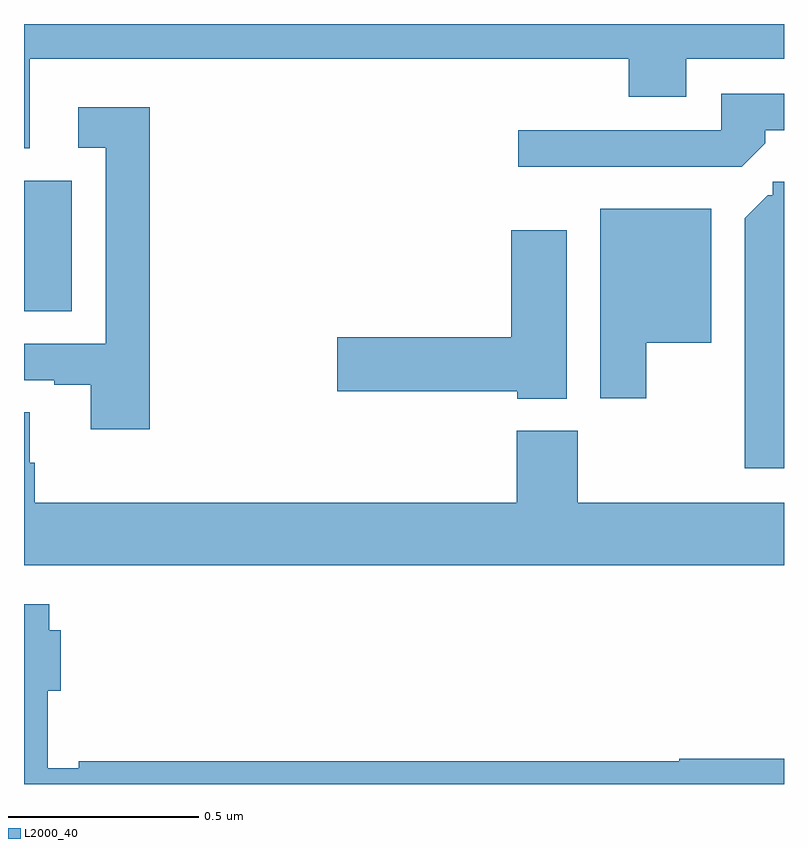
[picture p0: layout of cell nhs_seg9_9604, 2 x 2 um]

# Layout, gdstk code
import gdstk
lib = gdstk.Library(unit=1e-6, precision=1e-09)
def R(c, l, rs):  # rectangles x0, y0, x1, y1
    for r in rs: c.add(gdstk.rectangle(r[:2], r[2:], *l))
def P(c, l, *ps):  # polygons
    for p in ps: c.add(gdstk.Polygon(p, *l))
L2000_40 = (2000, 40)

nhs_seg9_9604 = lib.new_cell('nhs_seg9_9604')
R(nhs_seg9_9604, L2000_40, [(232,1207.744,232.126,1208.088)])
P(nhs_seg9_9604, L2000_40, [(232.015,1208.408),(233.591,1208.408),(233.591,1208.309),(233.743,1208.309),(233.743,1208.408),(234,1208.408),(234,1208.5),(232,1208.5),(232,1208.173),(232.015,1208.173)],
  [(233.951,1208.186),(233.951,1208.22),(234,1208.22),(234,1208.316),(233.835,1208.316),(233.835,1208.22),(233.301,1208.22),(233.301,1208.124),(233.889,1208.124)],
  [(232.331,1208.281),(232.143,1208.281),(232.143,1208.175),(232.215,1208.175),(232.215,1207.659),(232,1207.659),(232,1207.563),(232.079,1207.563),(232.079,1207.551),(232.175,1207.551),(232.175,1207.434),(232.331,1207.434)],
  [(234,1208.085),(233.97,1208.085),(233.97,1208.049),(233.957,1208.049),(233.897,1207.989),(233.897,1207.331),(234,1207.331)],
  [(233.638,1207.661),(233.809,1207.661),(233.809,1208.014),(233.516,1208.014),(233.516,1207.515),(233.638,1207.515)],
  [(233.428,1207.957),(233.282,1207.957),(233.282,1207.676),(232.824,1207.676),(232.824,1207.534),(233.298,1207.534),(233.298,1207.514),(233.428,1207.514)],
  [(234,1207.24),(233.457,1207.24),(233.457,1207.429),(233.297,1207.429),(233.297,1207.24),(232.028,1207.24),(232.028,1207.346),(232.015,1207.346),(232.015,1207.478),(232,1207.478),(232,1207.076),(234,1207.076)],
  [(234,1206.566),(233.724,1206.566),(233.724,1206.56),(232.144,1206.56),(232.144,1206.542),(232.063,1206.542),(232.063,1206.746),(232.097,1206.746),(232.097,1206.904),(232.067,1206.904),(232.067,1206.973),(232,1206.973),(232,1206.5),(234,1206.5)])

lib.write_gds('nhs_seg9_9604.gds')
